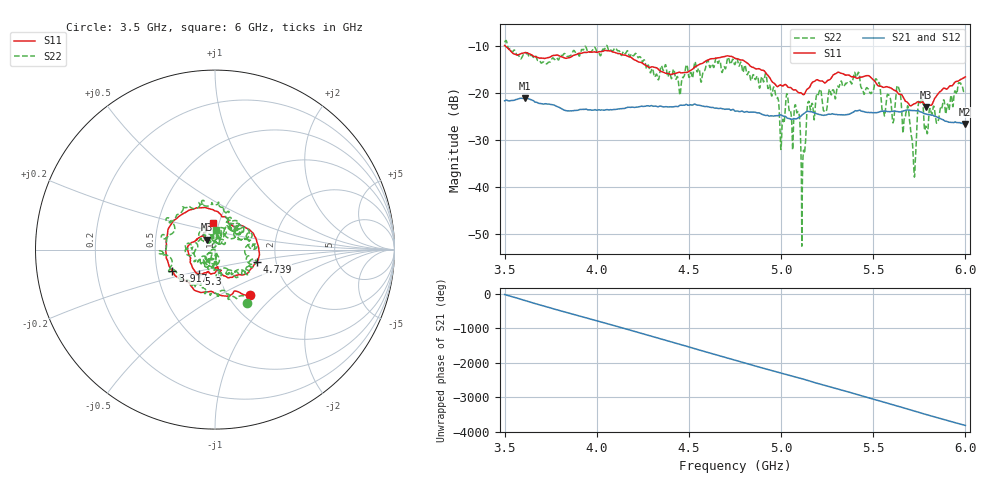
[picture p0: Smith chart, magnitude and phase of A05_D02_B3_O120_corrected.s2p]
! Created with skrf 1.9.0 (http://scikit-rf.org).
# Hz S RI R 50.0
!freq ReS11 ImS11 ReS21 ImS21 ReS12 ImS12 ReS22 ImS22
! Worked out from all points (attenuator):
!   1601 points, 3.5 GHz to 6 GHz, reference 50 ohm
!   highest |S21| = -21.07 dB at 3.611 GHz (marker M1); lowest = -26.6 dB at 5.997 GHz (marker M2)
!   lowest |S11| = -23.0 dB at 5.787 GHz (marker M3), VSWR 1.15, Z = 45.4 + j5 ohm
!   |S11| at or under -10 dB: 3.505 GHz to end of sweep
!   |S22| runs from -52.6 to -8.8 dB; largest |S21 - S12| = 0.001
!   S11 on the Smith chart (normalised r, x): 3.5 GHz: 1.26, -0.72; 3.917 GHz: 0.60, -0.16; 4.739 GHz: 1.58, -0.23; 5.3 GHz: 0.81, -0.22; 6 GHz: 0.94, +0.28
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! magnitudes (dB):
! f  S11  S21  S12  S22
! 3.5 GHz  -9.8  -21.6  -21.6  -9.2
! 3.611 GHz  -11.4  -21.1  -21.1  -11.8
! 3.917 GHz  -11.5  -23.5  -23.5  -10.8
! 4.334 GHz  -14.9  -22.9  -22.8  -17.2
! 4.739 GHz  -12.3  -23.5  -23.5  -12.8
! 4.75 GHz  -12.6  -23.8  -23.7  -13.9
! 4.969 GHz  -18.2  -24.8  -24.8  -20.1
! 5.005 GHz  -18.4  -24.7  -24.7  -27.4
! 5.033 GHz  -18.5  -25.3  -25.2  -20.1
! 5.086 GHz  -19.6  -25.4  -25.4  -24.2
! 5.119 GHz  -20.3  -24.5  -24.4  -33.8
! 5.147 GHz  -19.0  -23.9  -23.9  -21.9
! 5.167 GHz  -17.8  -24.0  -23.9  -22.2
! 5.3 GHz  -15.8  -24.5  -24.5  -19.7
! 5.409 GHz  -16.8  -23.8  -23.7  -16.6
! 5.584 GHz  -18.8  -23.9  -23.9  -20.4
! 5.639 GHz  -20.2  -24.0  -23.9  -19.0
! 5.72 GHz  -22.3  -23.7  -23.7  -36.2
! 5.755 GHz  -22.0  -24.0  -23.9  -21.8
! 5.787 GHz  -23.0  -24.5  -24.4  -27.3
! 5.997 GHz  -16.6  -26.6  -26.5  -19.5
! 6 GHz  -16.6  -26.6  -26.5  -19.4
